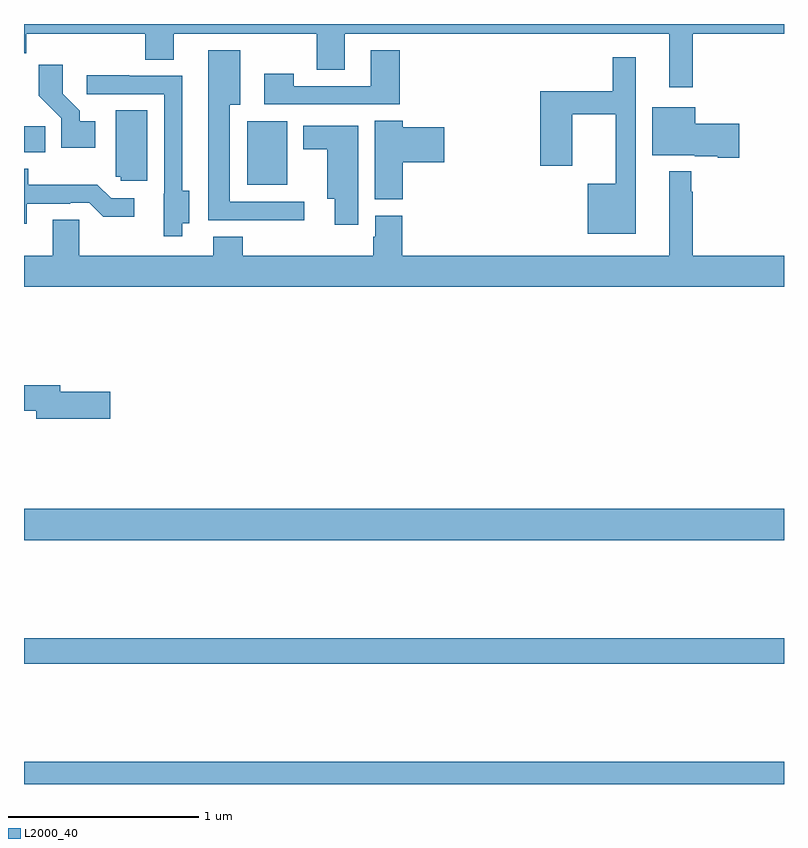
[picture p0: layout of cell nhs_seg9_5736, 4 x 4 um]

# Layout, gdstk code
import gdstk
lib = gdstk.Library(unit=1e-6, precision=1e-09)
def R(c, l, rs):  # rectangles x0, y0, x1, y1
    for r in rs: c.add(gdstk.rectangle(r[:2], r[2:], *l))
def P(c, l, *ps):  # polygons
    for p in ps: c.add(gdstk.Polygon(p, *l))
L2000_40 = (2000, 40)

nhs_seg9_5736 = lib.new_cell('nhs_seg9_5736')
R(nhs_seg9_5736, L2000_40, [(445,1164.5,449,1164.616), (445,1165.132,449,1165.268), (445,1165.784,449,1165.948), (446.174,1167.653,446.386,1167.988), (445,1167.824,445.112,1167.962)])
P(nhs_seg9_5736, L2000_40, [(448.519,1168.448),(449,1168.448),(449,1168.5),(445,1168.5),(445,1168.347),(445.013,1168.347),(445.013,1168.448),(445.637,1168.448),(445.637,1168.312),(445.789,1168.312),(445.789,1168.448),(446.542,1168.448),(446.542,1168.258),(446.689,1168.258),(446.689,1168.448),(448.397,1168.448),(448.397,1168.167),(448.519,1168.167)],
  [(446.978,1168.363),(446.825,1168.363),(446.825,1168.173),(446.421,1168.173),(446.421,1168.237),(446.265,1168.237),(446.265,1168.077),(446.978,1168.077)],
  [(446.476,1167.564),(446.083,1167.564),(446.083,1168.076),(446.137,1168.076),(446.137,1168.363),(445.97,1168.363),(445.97,1167.467),(446.476,1167.467)],
  [(448.219,1168.324),(448.098,1168.324),(448.098,1168.147),(447.716,1168.147),(447.716,1167.753),(447.886,1167.753),(447.886,1168.026),(448.115,1168.026),(448.115,1167.658),(447.968,1167.658),(447.968,1167.395),(448.219,1167.395)],
  [(445.375,1167.988),(445.294,1167.988),(445.294,1168.043),(445.204,1168.133),(445.204,1168.285),(445.078,1168.285),(445.078,1168.122),(445.197,1168.003),(445.197,1167.848),(445.375,1167.848)],
  [(445.834,1167.452),(445.87,1167.452),(445.87,1167.623),(445.834,1167.623),(445.834,1168.227),(445.553,1168.227),(445.553,1168.23),(445.329,1168.23),(445.329,1168.131),(445.737,1168.131),(445.737,1167.606),(445.736,1167.606),(445.736,1167.384),(445.834,1167.384)],
  [(448.765,1167.975),(448.534,1167.975),(448.534,1168.063),(448.307,1168.063),(448.307,1167.809),(448.53,1167.809),(448.53,1167.803),(448.652,1167.803),(448.652,1167.797),(448.765,1167.797)],
  [(445.648,1168.045),(445.484,1168.045),(445.484,1167.696),(445.509,1167.696),(445.509,1167.675),(445.648,1167.675)],
  [(446.993,1167.773),(447.211,1167.773),(447.211,1167.956),(446.993,1167.956),(446.993,1167.992),(446.846,1167.992),(446.846,1167.577),(446.993,1167.577)],
  [(446.758,1167.964),(446.471,1167.964),(446.471,1167.842),(446.597,1167.842),(446.597,1167.581),(446.636,1167.581),(446.636,1167.444),(446.758,1167.444)],
  [(445.015,1167.555),(445.244,1167.555),(445.244,1167.558),(445.344,1167.558),(445.417,1167.485),(445.579,1167.485),(445.579,1167.582),(445.458,1167.582),(445.385,1167.655),(445.023,1167.655),(445.023,1167.739),(445,1167.739),(445,1167.45),(445.015,1167.45)],
  [(449,1167.28),(448.519,1167.28),(448.519,1167.617),(448.511,1167.617),(448.511,1167.724),(448.397,1167.724),(448.397,1167.28),(446.99,1167.28),(446.99,1167.492),(446.849,1167.492),(446.849,1167.381),(446.837,1167.381),(446.837,1167.28),(446.15,1167.28),(446.15,1167.379),(445.997,1167.379),(445.997,1167.28),(445.29,1167.28),(445.29,1167.47),(445.151,1167.47),(445.151,1167.28),(445,1167.28),(445,1167.116),(449,1167.116)],
  [(445.453,1166.564),(445.192,1166.564),(445.192,1166.6),(445,1166.6),(445,1166.464),(445.064,1166.464),(445.064,1166.422),(445.453,1166.422)])

lib.write_gds('nhs_seg9_5736.gds')
